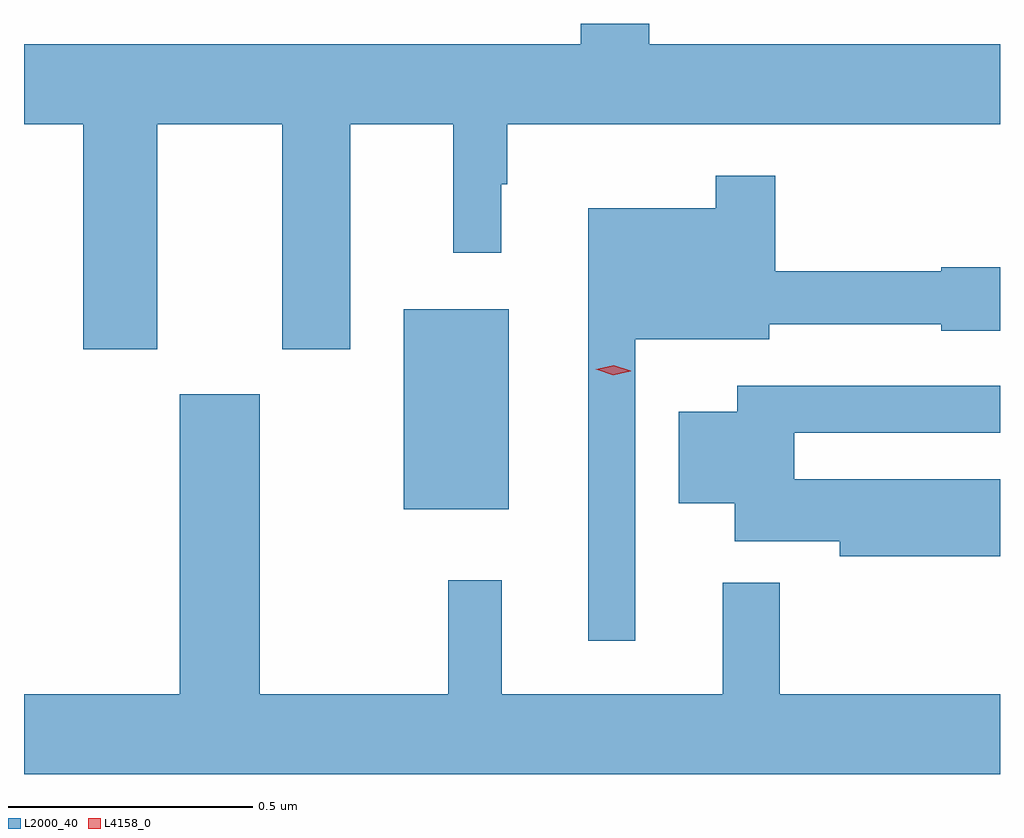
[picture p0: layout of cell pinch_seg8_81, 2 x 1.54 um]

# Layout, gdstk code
import gdstk
lib = gdstk.Library(unit=1e-6, precision=1e-09)
def R(c, l, rs):  # rectangles x0, y0, x1, y1
    for r in rs: c.add(gdstk.rectangle(r[:2], r[2:], *l))
def P(c, l, *ps):  # polygons
    for p in ps: c.add(gdstk.Polygon(p, *l))
L2000_40 = (2000, 40)
L4158_0 = (4158, 0)

pinch_seg8_81 = lib.new_cell('pinch_seg8_81')
R(pinch_seg8_81, L2000_40, [(1047.14,1121.039,1047.355,1121.449)])
P(pinch_seg8_81, L2000_40, [(1046.635,1121.828),(1046.891,1121.828),(1046.891,1121.367),(1047.031,1121.367),(1047.031,1121.828),(1047.242,1121.828),(1047.242,1121.565),(1047.34,1121.565),(1047.34,1121.705),(1047.352,1121.705),(1047.352,1121.828),(1048.362,1121.828),(1048.362,1121.992),(1047.643,1121.992),(1047.643,1122.034),(1047.503,1122.034),(1047.503,1121.992),(1046.362,1121.992),(1046.362,1121.828),(1046.483,1121.828),(1046.483,1121.367),(1046.635,1121.367)],
  [(1047.615,1121.387),(1047.889,1121.387),(1047.889,1121.418),(1048.242,1121.418),(1048.242,1121.405),(1048.362,1121.405),(1048.362,1121.535),(1048.242,1121.535),(1048.242,1121.527),(1047.901,1121.527),(1047.901,1121.722),(1047.78,1121.722),(1047.78,1121.656),(1047.518,1121.656),(1047.518,1120.77),(1047.615,1120.77)],
  [(1048.362,1121.101),(1047.94,1121.101),(1047.94,1121.196),(1048.362,1121.196),(1048.362,1121.292),(1047.824,1121.292),(1047.824,1121.239),(1047.704,1121.239),(1047.704,1121.051),(1047.818,1121.051),(1047.818,1120.973),(1048.034,1120.973),(1048.034,1120.943),(1048.362,1120.943)],
  [(1048.362,1120.66),(1047.911,1120.66),(1047.911,1120.888),(1047.794,1120.888),(1047.794,1120.66),(1047.341,1120.66),(1047.341,1120.894),(1047.231,1120.894),(1047.231,1120.66),(1046.845,1120.66),(1046.845,1121.275),(1046.681,1121.275),(1046.681,1120.66),(1046.362,1120.66),(1046.362,1120.496),(1048.362,1120.496)])
P(pinch_seg8_81, L4158_0, [(1047.569,1121.314),(1047.534,1121.326),(1047.533,1121.326),(1047.534,1121.326),(1047.57,1121.334),(1047.605,1121.323),(1047.605,1121.323),(1047.605,1121.322)])

lib.write_gds('pinch_seg8_81.gds')
